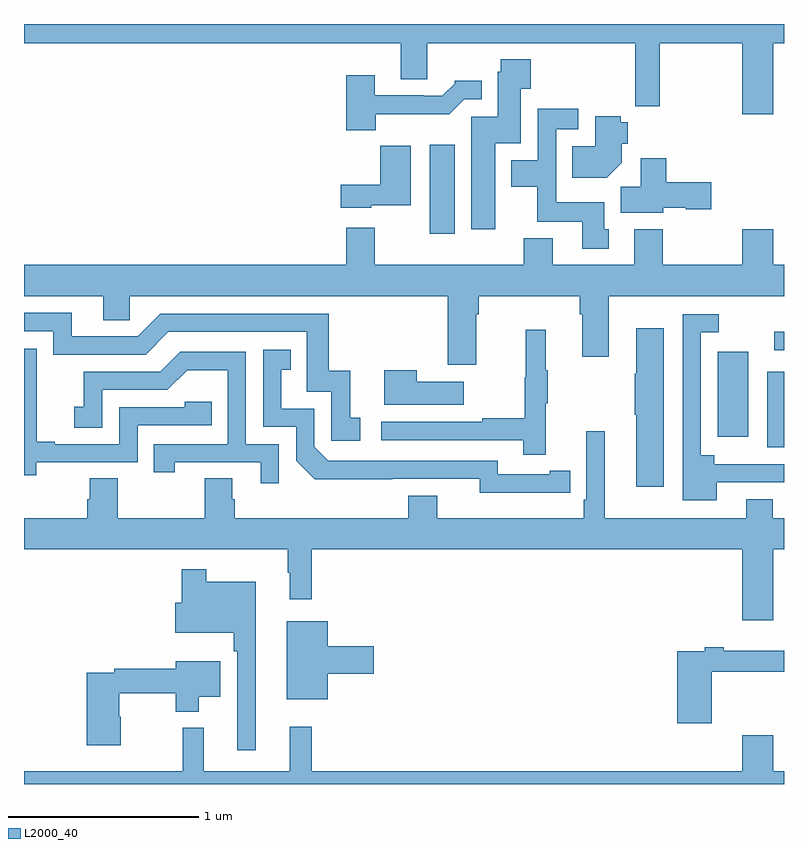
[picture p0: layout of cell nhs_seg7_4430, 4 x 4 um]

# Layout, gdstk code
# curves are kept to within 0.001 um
import gdstk
lib = gdstk.Library(unit=1e-6, precision=1e-09)
def R(c, l, rs):  # rectangles x0, y0, x1, y1
    for r in rs: c.add(gdstk.rectangle(r[:2], r[2:], *l))
def P(c, l, *ps):  # polygons
    for p in ps: c.add(gdstk.Polygon(p, *l))
L2000_40 = (2000, 40)

nhs_seg7_4430 = lib.new_cell('nhs_seg7_4430')
R(nhs_seg7_4430, L2000_40, [(392.912,1047.773,393,1048.171), (392.651,1047.828,392.812,1048.276), (392.949,1048.284,393,1048.38), (391.136,1048.896,391.267,1049.365)])
P(nhs_seg7_4430, L2000_40, [(392.944,1049.9),(393,1049.9),(393,1050),(389,1050),(389,1049.9),(390.983,1049.9),(390.983,1049.71),(391.123,1049.71),(391.123,1049.9),(392.218,1049.9),(392.218,1049.568),(392.347,1049.568),(392.347,1049.9),(392.78,1049.9),(392.78,1049.526),(392.944,1049.526)],
  [(391.48,1049.372),(391.615,1049.372),(391.615,1049.659),(391.667,1049.659),(391.667,1049.815),(391.51,1049.815),(391.51,1049.748),(391.493,1049.748),(391.493,1049.511),(391.355,1049.511),(391.355,1048.92),(391.48,1048.92)],
  [(390.85,1049.526),(391.239,1049.526),(391.317,1049.604),(391.408,1049.604),(391.408,1049.701),(391.266,1049.701),(391.266,1049.686),(391.202,1049.622),(391.103,1049.622),(391.103,1049.625),(390.847,1049.625),(390.847,1049.731),(390.695,1049.731),(390.695,1049.441),(390.85,1049.441)],
  [(392.077,1048.92),(392.053,1048.92),(392.053,1049.062),(391.8,1049.062),(391.8,1049.445),(391.918,1049.445),(391.918,1049.554),(391.704,1049.554),(391.704,1049.284),(391.565,1049.284),(391.565,1049.144),(391.702,1049.144),(391.702,1048.958),(391.937,1048.958),(391.937,1048.818),(392.077,1048.818)],
  [(392.146,1049.27),(392.146,1049.37),(392.177,1049.37),(392.177,1049.484),(392.142,1049.484),(392.142,1049.514),(392.006,1049.514),(392.006,1049.356),(391.885,1049.356),(391.885,1049.192),(392.068,1049.192)],
  [(390.828,1049.045),(391.036,1049.045),(391.036,1049.359),(390.874,1049.359),(390.874,1049.155),(390.666,1049.155),(390.666,1049.033),(390.828,1049.033)],
  [(392.364,1049.033),(392.484,1049.033),(392.484,1049.026),(392.617,1049.026),(392.617,1049.168),(392.381,1049.168),(392.381,1049.293),(392.246,1049.293),(392.246,1049.144),(392.141,1049.144),(392.141,1049.006),(392.364,1049.006)],
  [(391.381,1048.472),(391.394,1048.472),(391.394,1048.568),(391.925,1048.568),(391.925,1048.472),(391.937,1048.472),(391.937,1048.248),(392.077,1048.248),(392.077,1048.568),(393,1048.568),(393,1048.732),(392.944,1048.732),(392.944,1048.921),(392.78,1048.921),(392.78,1048.732),(392.361,1048.732),(392.361,1048.921),(392.213,1048.921),(392.213,1048.732),(391.783,1048.732),(391.783,1048.873),(391.631,1048.873),(391.631,1048.732),(390.847,1048.732),(390.847,1048.927),(390.695,1048.927),(390.695,1048.732),(389,1048.732),(389,1048.568),(389.417,1048.568),(389.417,1048.441),(389.556,1048.441),(389.556,1048.568),(391.229,1048.568),(391.229,1048.206),(391.381,1048.206)],
  [(390.769,1047.927),(390.716,1047.927),(390.716,1048.174),(390.605,1048.174),(390.605,1048.476),(389.718,1048.476),(389.598,1048.356),(389.251,1048.356),(389.251,1048.479),(389,1048.479),(389,1048.383),(389.154,1048.383),(389.154,1048.26),(389.64,1048.26),(389.76,1048.38),(390.489,1048.38),(390.489,1048.065),(390.618,1048.065),(390.618,1047.807),(390.769,1047.807)],
  [(392.647,1047.588),(393,1047.588),(393,1047.684),(392.632,1047.684),(392.632,1047.73),(392.562,1047.73),(392.562,1048.377),(392.656,1048.377),(392.656,1048.473),(392.466,1048.473),(392.466,1047.494),(392.647,1047.494)],
  [(392.368,1048.399),(392.222,1048.399),(392.222,1048.16),(392.215,1048.16),(392.215,1047.943),(392.222,1047.943),(392.222,1047.564),(392.368,1047.564)],
  [(391.745,1048.003),(391.756,1048.003),(391.756,1048.177),(391.745,1048.177),(391.745,1048.39),(391.642,1048.39),(391.642,1048.14),(391.635,1048.14),(391.635,1047.926),(391.411,1047.926),(391.411,1047.906),(390.879,1047.906),(390.879,1047.81),(391.627,1047.81),(391.627,1047.732),(391.745,1047.732)],
  [(389.064,1047.693),(389.598,1047.693),(389.598,1047.888),(389.987,1047.888),(389.987,1048.011),(389.847,1048.011),(389.847,1047.984),(389.502,1047.984),(389.502,1047.789),(389.161,1047.789),(389.161,1047.802),(389.066,1047.802),(389.066,1048.085),(389.067,1048.085),(389.067,1048.291),(389,1048.291),(389,1047.625),(389.064,1047.625)],
  [(391.766,1047.534),(391.874,1047.534),(391.874,1047.65),(391.766,1047.65),(391.766,1047.63),(391.494,1047.63),(391.494,1047.702),(390.6,1047.702),(390.528,1047.774),(390.528,1047.975),(390.355,1047.975),(390.355,1048.179),(390.404,1048.179),(390.404,1048.285),(390.258,1048.285),(390.258,1047.879),(390.432,1047.879),(390.432,1047.702),(390.53,1047.605),(391.398,1047.606),(391.398,1047.533)],
  [(390.342,1047.789),(390.168,1047.789),(390.168,1048.275),(389.822,1048.275),(389.717,1048.17),(389.314,1048.17),(389.314,1047.985),(389.265,1047.985),(389.265,1047.876),(389.412,1047.876),(389.412,1048.074),(389.754,1048.074),(389.858,1048.178),(390.072,1048.178),(390.072,1047.789),(389.683,1047.789),(389.683,1047.642),(389.794,1047.642),(389.794,1047.693),(390.245,1047.693),(390.245,1047.582),(390.342,1047.582)],
  [(391.315,1048.117),(391.067,1048.117),(391.067,1048.177),(390.896,1048.177),(390.896,1047.995),(391.315,1047.995)],
  [(392.944,1047.236),(393,1047.236),(393,1047.4),(392.941,1047.4),(392.941,1047.499),(392.801,1047.499),(392.801,1047.4),(392.056,1047.4),(392.056,1047.856),(391.959,1047.856),(391.959,1047.496),(391.946,1047.496),(391.946,1047.4),(391.174,1047.4),(391.174,1047.517),(391.022,1047.517),(391.022,1047.4),(390.11,1047.4),(390.11,1047.498),(390.097,1047.498),(390.097,1047.608),(389.95,1047.608),(389.95,1047.4),(389.493,1047.4),(389.493,1047.608),(389.345,1047.608),(389.345,1047.498),(389.333,1047.498),(389.333,1047.4),(389,1047.4),(389,1047.236),(390.387,1047.236),(390.387,1047.113),(390.398,1047.113),(390.398,1046.973),(390.515,1046.973),(390.515,1047.236),(392.78,1047.236),(392.78,1046.862),(392.944,1046.862)],
  [(390.22,1047.064),(389.959,1047.064),(389.959,1047.13),(389.83,1047.13),(389.83,1046.953),(389.796,1046.953),(389.796,1046.795),(390.103,1046.795),(390.103,1046.699),(390.123,1046.699),(390.123,1046.178),(390.22,1046.178)],
  [(390.598,1046.579),(390.841,1046.579),(390.841,1046.726),(390.598,1046.726),(390.598,1046.857),(390.383,1046.857),(390.383,1046.447),(390.598,1046.447)],
  [(392.621,1046.592),(393,1046.592),(393,1046.701),(392.684,1046.701),(392.684,1046.72),(392.584,1046.72),(392.584,1046.7),(392.438,1046.7),(392.438,1046.319),(392.621,1046.319)],
  [(389.508,1046.355),(389.5,1046.355),(389.5,1046.478),(389.798,1046.478),(389.798,1046.381),(389.92,1046.381),(389.92,1046.459),(390.034,1046.459),(390.034,1046.647),(389.798,1046.647),(389.798,1046.606),(389.476,1046.606),(389.476,1046.586),(389.33,1046.586),(389.33,1046.205),(389.508,1046.205)],
  [(393,1046.068),(392.944,1046.068),(392.944,1046.257),(392.78,1046.257),(392.78,1046.068),(390.515,1046.068),(390.515,1046.302),(390.398,1046.302),(390.398,1046.068),(389.945,1046.068),(389.945,1046.296),(389.835,1046.296),(389.835,1046.068),(389,1046.068),(389,1046),(393,1046)])

lib.write_gds('nhs_seg7_4430.gds')
